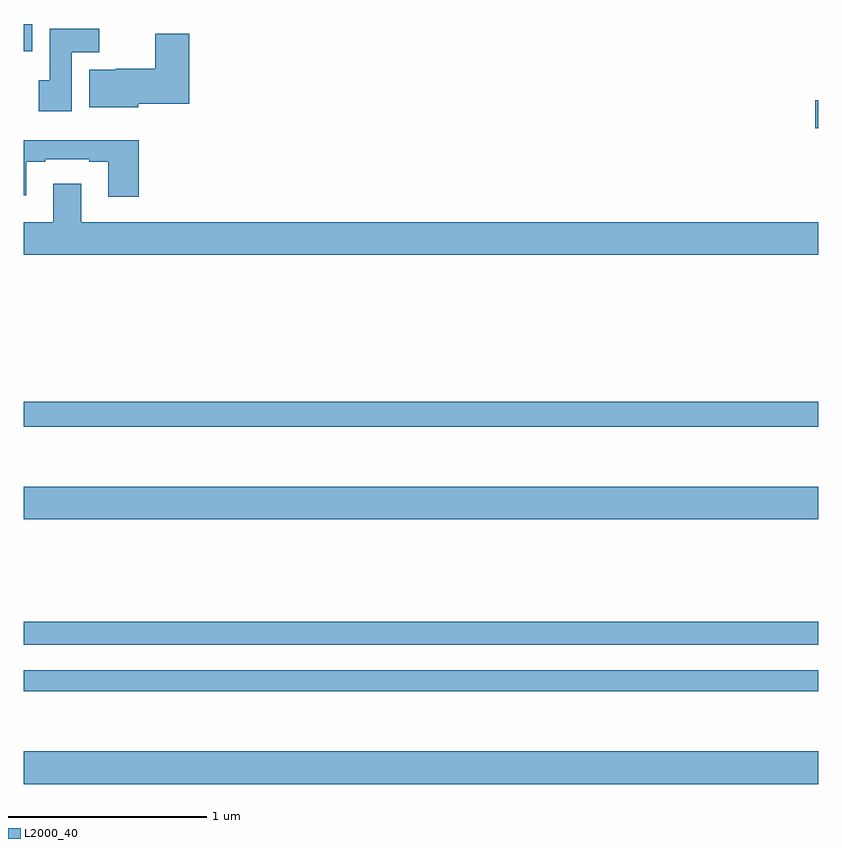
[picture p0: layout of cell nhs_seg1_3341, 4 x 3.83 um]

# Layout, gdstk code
import gdstk
lib = gdstk.Library(unit=1e-6, precision=1e-09)
def R(c, l, rs):  # rectangles x0, y0, x1, y1
    for r in rs: c.add(gdstk.rectangle(r[:2], r[2:], *l))
def P(c, l, *ps):  # polygons
    for p in ps: c.add(gdstk.Polygon(p, *l))
L2000_40 = (2000, 40)

nhs_seg1_3341 = lib.new_cell('nhs_seg1_3341')
R(nhs_seg1_3341, L2000_40, [(291,578.372,295,578.536), (291,578.838,295,578.946), (291,579.072,295,579.188), (291,579.704,295,579.868), (291,580.17,295,580.298), (294.984,581.674,295,581.816), (291,582.062,291.043,582.199)])
P(nhs_seg1_3341, L2000_40, [(291.241,582.056),(291.38,582.056),(291.38,582.174),(291.131,582.174),(291.131,581.916),(291.074,581.916),(291.074,581.76),(291.241,581.76)],
  [(291.576,581.798),(291.833,581.798),(291.833,582.151),(291.662,582.151),(291.662,581.974),(291.462,581.974),(291.462,581.968),(291.329,581.968),(291.329,581.78),(291.576,581.78)],
  [(291.578,581.614),(291,581.614),(291,581.336),(291.013,581.336),(291.013,581.505),(291.109,581.505),(291.109,581.517),(291.329,581.517),(291.329,581.505),(291.425,581.505),(291.425,581.328),(291.578,581.328)],
  [(295,581.2),(291.289,581.2),(291.289,581.395),(291.149,581.395),(291.149,581.2),(291,581.2),(291,581.036),(295,581.036)])

lib.write_gds('nhs_seg1_3341.gds')
